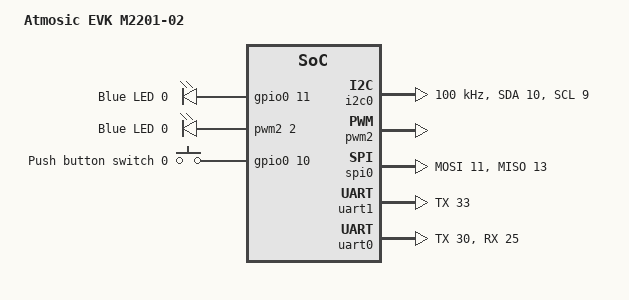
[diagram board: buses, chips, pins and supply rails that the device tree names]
/*
 * Copyright (c) 2023-2024 Atmosic
 *
 * SPDX-License-Identifier: Apache-2.0
 */

/dts-v1/;
#include <arm/atmosic/ATMx2xx-x1x.dtsi>
#include <dt-bindings/gpio/gpio.h>

/ {
	model = "Atmosic EVK M2201-02";
	compatible = "atmosic,ATMEVK-M2201-02";

	chosen {
		zephyr,console = &uart1;
		zephyr,shell-uart = &uart1;
		zephyr,uart-mcumgr = &uart0;
		zephyr,bt-mon-uart = &uart1;
		zephyr,bt-c2h-uart = &uart0;
		zephyr,sram = &sram0;
		zephyr,flash-controller = &flash_controller;
		zephyr,flash = &flash0;
		zephyr,code-partition = &slot0_partition;
		zephyr,entropy = &trng;
	};

	leds {
		compatible = "gpio-leds";
		led0: led_0 {
			/* Install JP4 */
			gpios = <&gpio0 11 GPIO_ACTIVE_HIGH>;
			label = "Blue LED 0";
		};
	};

        pwmleds {
                compatible = "pwm-leds";
                pwm_led0: pwm_led_0 {
                        pwms = <&pwm2 2 PWM_MSEC(1) PWM_POLARITY_NORMAL>;
			label = "Blue LED 0";
                };
        };

	buttons {
		compatible = "gpio-keys";
		button0: button_0 {
			gpios = <&gpio0 10 GPIO_ACTIVE_HIGH>;
			label = "Push button switch 0";
		};
	};

	/* These aliases are provided for compatibility with samples */
	aliases {
		i2c-1 = &i2c0;
		led0 = &led0;
		pwm-0 = &pwm2;
		pwm-led0 = &pwm_led0;
		sw0 = &button0;
	};
};

&i2c0 {
        sda-pin = <10>;
        scl-pin = <9>;
	clock-frequency = <I2C_BITRATE_STANDARD>;
};

&pwm2 {
	pin = <11>;
	status = "okay";
};

&spi0 {
        clk-pin = <9>;
        cs-pin = <10>;
        mosi-pin = <11>;
        miso-pin = <13>;
};

&adc {
    ch-cell = <0>;
    ch-batt = <0>;
};

&uart1 {
	tx-pin = <33>;
};

&uart0 {
	rx-pin = <25>;
	tx-pin = <30>;
	cts-pin = <11>;
	rts-pin = <13>;
};
